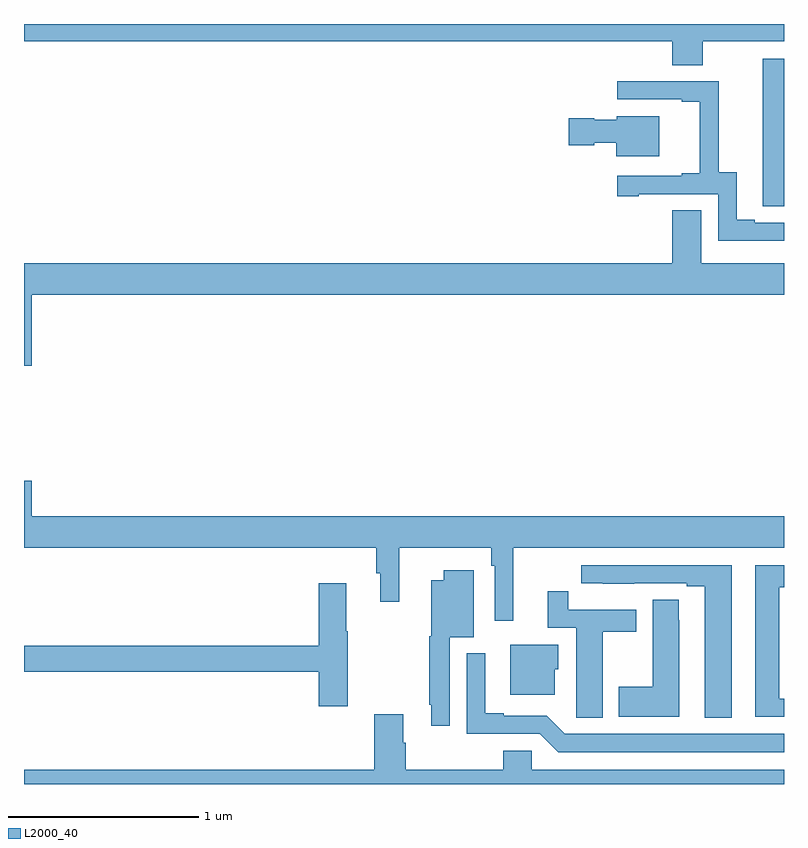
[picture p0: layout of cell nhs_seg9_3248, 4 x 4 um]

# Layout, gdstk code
import gdstk
lib = gdstk.Library(unit=1e-6, precision=1e-09)
def P(c, l, *ps):  # polygons
    for p in ps: c.add(gdstk.Polygon(p, *l))
L2000_40 = (2000, 40)

nhs_seg9_3248 = lib.new_cell('nhs_seg9_3248')
P(nhs_seg9_3248, L2000_40, [(300.573,1208.408),(301,1208.408),(301,1208.5),(297,1208.5),(297,1208.408),(300.413,1208.408),(300.413,1208.284),(300.573,1208.284)],
  [(301,1208.316),(300.887,1208.316),(300.887,1207.648),(300.888,1207.648),(300.888,1207.54),(301,1207.54)],
  [(301,1207.455),(300.847,1207.455),(300.847,1207.47),(300.751,1207.47),(300.751,1207.721),(300.657,1207.721),(300.657,1208.199),(300.123,1208.199),(300.123,1208.103),(300.461,1208.103),(300.461,1208.091),(300.557,1208.091),(300.557,1207.714),(300.461,1207.714),(300.461,1207.701),(300.123,1207.701),(300.123,1207.593),(300.235,1207.593),(300.235,1207.605),(300.654,1207.605),(300.654,1207.359),(301,1207.359)],
  [(300.343,1208.014),(300.12,1208.014),(300.12,1207.996),(300,1207.996),(300,1208.004),(299.868,1208.004),(299.868,1207.862),(300,1207.862),(300,1207.874),(300.116,1207.874),(300.116,1207.805),(300.343,1207.805)],
  [(297.04,1207.076),(301,1207.076),(301,1207.24),(300.565,1207.24),(300.565,1207.52),(300.413,1207.52),(300.413,1207.24),(297,1207.24),(297,1206.702),(297.04,1206.702)],
  [(299.576,1205.744),(301,1205.744),(301,1205.908),(297.04,1205.908),(297.04,1206.097),(297,1206.097),(297,1205.744),(298.855,1205.744),(298.855,1205.61),(298.874,1205.61),(298.874,1205.46),(298.974,1205.46),(298.974,1205.744),(299.458,1205.744),(299.458,1205.648),(299.478,1205.648),(299.478,1205.358),(299.576,1205.358)],
  [(300.724,1205.652),(299.934,1205.652),(299.934,1205.556),(300.046,1205.556),(300.046,1205.555),(300.212,1205.555),(300.212,1205.556),(300.488,1205.556),(300.488,1205.541),(300.584,1205.541),(300.584,1204.849),(300.724,1204.849)],
  [(301,1204.95),(300.976,1204.95),(300.976,1205.536),(301,1205.536),(301,1205.652),(300.848,1205.652),(300.848,1204.854),(301,1204.854)],
  [(299.241,1205.273),(299.368,1205.273),(299.368,1205.626),(299.21,1205.626),(299.21,1205.572),(299.144,1205.572),(299.144,1205.277),(299.133,1205.277),(299.133,1204.918),(299.144,1204.918),(299.144,1204.806),(299.241,1204.806)],
  [(298.704,1205.305),(298.696,1205.305),(298.696,1205.557),(298.55,1205.557),(298.55,1205.228),(297,1205.228),(297,1205.092),(298.55,1205.092),(298.55,1204.908),(298.704,1204.908)],
  [(300.046,1205.302),(300.223,1205.302),(300.223,1205.418),(299.864,1205.418),(299.864,1205.515),(299.756,1205.515),(299.756,1205.322),(299.906,1205.322),(299.906,1204.96),(299.907,1204.96),(299.907,1204.849),(300.046,1204.849)],
  [(300.448,1205.363),(300.447,1205.363),(300.447,1205.471),(300.308,1205.471),(300.308,1205.013),(300.131,1205.013),(300.131,1204.853),(300.448,1204.853)],
  [(299.794,1205.103),(299.812,1205.103),(299.812,1205.233),(299.558,1205.233),(299.558,1204.97),(299.794,1204.97)],
  [(301,1204.764),(299.847,1204.764),(299.751,1204.86),(299.524,1204.86),(299.524,1204.873),(299.428,1204.873),(299.428,1205.188),(299.331,1205.188),(299.331,1204.764),(299.715,1204.764),(299.811,1204.668),(301,1204.668)],
  [(301,1204.576),(299.673,1204.576),(299.673,1204.674),(299.522,1204.674),(299.522,1204.576),(299.009,1204.576),(299.009,1204.718),(298.996,1204.718),(298.996,1204.867),(298.844,1204.867),(298.844,1204.576),(297,1204.576),(297,1204.5),(301,1204.5)])

lib.write_gds('nhs_seg9_3248.gds')
